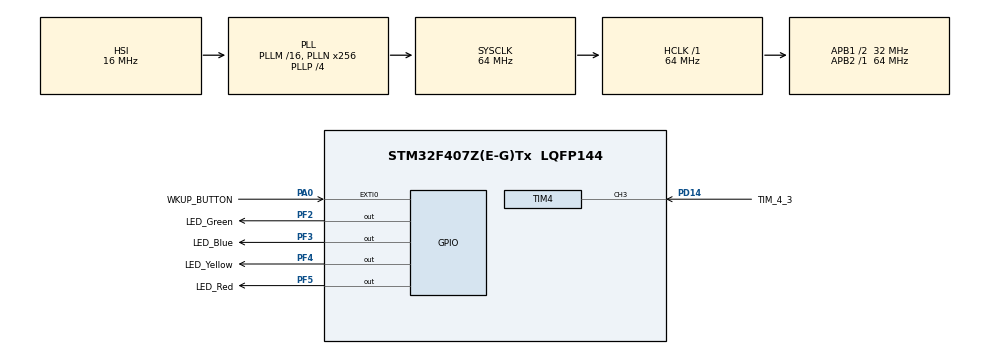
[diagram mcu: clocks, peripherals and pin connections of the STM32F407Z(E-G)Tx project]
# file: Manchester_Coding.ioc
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Mcu.Family=STM32F4
Mcu.Name=STM32F407Z(E-G)Tx
Mcu.Package=LQFP144
NVIC.EXTI0_IRQn=true\:0\:0\:false\:false\:true\:true
NVIC.PriorityGroup=NVIC_PRIORITYGROUP_4
NVIC.TIM4_IRQn=true\:0\:0\:false\:false\:true\:true
PA0-WKUP.GPIO_Label=WKUP_BUTTON
PA0-WKUP.GPIO_PuPd=GPIO_PULLDOWN
PA0-WKUP.Signal=GPXTI0
PD14.GPIO_Label=TIM_4_3
PD14.GPIO_PuPd=GPIO_PULLDOWN
PD14.Signal=S_TIM4_CH3
PF2.GPIO_Label=LED_Green
PF2.GPIO_PuPd=GPIO_PULLDOWN
PF2.Signal=GPIO_Output
PF3.GPIO_Label=LED_Blue
PF3.GPIO_PuPd=GPIO_PULLDOWN
PF3.Signal=GPIO_Output
PF4.GPIO_Label=LED_Yellow
PF4.GPIO_PuPd=GPIO_PULLDOWN
PF4.Signal=GPIO_Output
PF5.GPIO_Label=LED_Red
PF5.GPIO_PuPd=GPIO_PULLDOWN
PF5.Signal=GPIO_Output
ProjectManager.HeapSize=0x200
ProjectManager.StackSize=0x400
ProjectManager.TargetToolchain=Makefile
RCC.48MHZClocksFreq_Value=64000000
RCC.AHBFreq_Value=64000000
RCC.APB1CLKDivider=RCC_HCLK_DIV2
RCC.APB1Freq_Value=32000000
RCC.APB1TimFreq_Value=64000000
RCC.APB2Freq_Value=64000000
RCC.APB2TimFreq_Value=64000000
RCC.CortexFreq_Value=64000000
RCC.HCLKFreq_Value=64000000
RCC.HSE_VALUE=25000000
RCC.HSI_VALUE=16000000
RCC.LSE_VALUE=32768
RCC.PLLN=256
RCC.PLLP=RCC_PLLP_DIV4
RCC.SYSCLKFreq_VALUE=64000000
RCC.SYSCLKSource=RCC_SYSCLKSOURCE_PLLCLK
RCC.VCOOutputFreq_Value=256000000
SH.S_TIM4_CH3.0=TIM4_CH3,Input_Capture3_from_TI3
TIM4.Channel-Input_Capture3_from_TI3=TIM_CHANNEL_3
TIM4.ICPolarity_CH3=TIM_INPUTCHANNELPOLARITY_BOTHEDGE
TIM4.Period=0xFFFF
board=Manchester_Coding

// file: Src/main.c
/**
  ******************************************************************************
  * File Name          : main.c
  * Description        : Main program body
  ******************************************************************************
  ** This notice applies to any and all portions of this file
  * that are not between comment pairs USER CODE BEGIN and
  * USER CODE END. Other portions of this file, whether
  * inserted by the user or by software development tools
  * are owned by their respective copyright owners.
  *
  * COPYRIGHT(c) 2017 STMicroelectronics
  *
  * Redistribution and use in source and binary forms, with or without modification,
  * are permitted provided that the following conditions are met:
  *   1. Redistributions of source code must retain the above copyright notice,
  *      this list of conditions and the following disclaimer.
  *   2. Redistributions in binary form must reproduce the above copyright notice,
  *      this list of conditions and the following disclaimer in the documentation
  *      and/or other materials provided with the distribution.
  *   3. Neither the name of STMicroelectronics nor the names of its contributors
  *      may be used to endorse or promote products derived from this software
  *      without specific prior written permission.
  *
  * THIS SOFTWARE IS PROVIDED BY THE COPYRIGHT HOLDERS AND CONTRIBUTORS "AS IS"
  * AND ANY EXPRESS OR IMPLIED WARRANTIES, INCLUDING, BUT NOT LIMITED TO, THE
  * IMPLIED WARRANTIES OF MERCHANTABILITY AND FITNESS FOR A PARTICULAR PURPOSE ARE
  * DISCLAIMED. IN NO EVENT SHALL THE COPYRIGHT HOLDER OR CONTRIBUTORS BE LIABLE
  * FOR ANY DIRECT, INDIRECT, INCIDENTAL, SPECIAL, EXEMPLARY, OR CONSEQUENTIAL
  * DAMAGES (INCLUDING, BUT NOT LIMITED TO, PROCUREMENT OF SUBSTITUTE GOODS OR
  * SERVICES; LOSS OF USE, DATA, OR PROFITS; OR BUSINESS INTERRUPTION) HOWEVER
  * CAUSED AND ON ANY THEORY OF LIABILITY, WHETHER IN CONTRACT, STRICT LIABILITY,
  * OR TORT (INCLUDING NEGLIGENCE OR OTHERWISE) ARISING IN ANY WAY OUT OF THE USE
  * OF THIS SOFTWARE, EVEN IF ADVISED OF THE POSSIBILITY OF SUCH DAMAGE.
  *
  ******************************************************************************
  */

#include "main.h"
#include "stm32f4xx_hal.h"

/* USER CODE BEGIN Includes */
#include "dwt_stm32_delay.h"
/* USER CODE END Includes */

TIM_HandleTypeDef htim4;

/* USER CODE BEGIN PV */
/* Private variables ---------------------------------------------------------*/

/* Captured Values */
uint32_t               uwIC3Value1 = 0;
uint32_t               uwIC3Value2 = 0;
uint32_t               uwDiffCapture = 0;

/* Capture index */
uint16_t               uhCaptureIndex = 0;

/* /\* Frequency Value *\/ */
/* uint32_t               uwFrequency = 0; */

/* T value as 125 usec */
static unsigned long T = 125*0.000001;
/* Delta_T value as 25 usec */
static unsigned long Delta_T = 25*0.000001;
/* Receiving buffer initialization */
static unsigned char rx_msg[valid_bits] = {0};
/* The value sent by the slave (Disc_STM32F3) */
static unsigned char response = 0x96;

/* USER CODE END PV */

void SystemClock_Config(void);
static void MX_GPIO_Init(void);
static void MX_TIM4_Init(void);

/* USER CODE BEGIN PFP */
/* Private function prototypes -----------------------------------------------*/
/* Manchester_Rx functions */
static unsigned char  Manch_Rx(unsigned char* rx_msg);
static void Manch_Rx_Error(void);
/* USER CODE END PFP */

int main(void)
{

  /* MCU Configuration----------------------------------------------------------*/

  /* Reset of all peripherals, Initializes the Flash interface and the Systick. */
  HAL_Init();

  /* Configure the system clock */
  SystemClock_Config();

  /* Initialize all configured peripherals */
  MX_GPIO_Init();
  MX_TIM4_Init();

  /* USER CODE BEGIN 2 */
  /* Start the Timer4 Input Capture in Interrupt mode */
  if(HAL_TIM_IC_Start_IT(&htim4, TIM_CHANNEL_3) != HAL_OK)
    {
      _Error_Handler(__FILE__,__LINE__);
    }
  /* Call the Manchester_Rx function here and compare the "response"
     and "rx_msg" values */
  Manch_Rx(rx_msg);
  if(*rx_msg == response)
    {
      /* Turn On LED_Green */
      HAL_GPIO_WritePin(LED_Green_GPIO_Port, LED_Green_Pin, GPIO_PIN_SET);
    }
  else
    {
      /* Turn on LED_Red */
      HAL_GPIO_WritePin(LED_Red_GPIO_Port, LED_Red_Pin, GPIO_PIN_SET);
    }
  /* USER CODE END 2 */

  /* Infinite loop */
  while (1)
    {

    }

}

/** System Clock Configuration
*/
void SystemClock_Config(void)
{

  RCC_OscInitTypeDef RCC_OscInitStruct;
  RCC_ClkInitTypeDef RCC_ClkInitStruct;

    /**Configure the main internal regulator output voltage
    */
  __HAL_RCC_PWR_CLK_ENABLE();

  __HAL_PWR_VOLTAGESCALING_CONFIG(PWR_REGULATOR_VOLTAGE_SCALE1);

    /**Initializes the CPU, AHB and APB busses clocks
    */
  RCC_OscInitStruct.OscillatorType = RCC_OSCILLATORTYPE_HSI;
  RCC_OscInitStruct.HSIState = RCC_HSI_ON;
  RCC_OscInitStruct.HSICalibrationValue = 16;
  RCC_OscInitStruct.PLL.PLLState = RCC_PLL_ON;
  RCC_OscInitStruct.PLL.PLLSource = RCC_PLLSOURCE_HSI;
  RCC_OscInitStruct.PLL.PLLM = 16;
  RCC_OscInitStruct.PLL.PLLN = 256;
  RCC_OscInitStruct.PLL.PLLP = RCC_PLLP_DIV4;
  RCC_OscInitStruct.PLL.PLLQ = 4;
  if (HAL_RCC_OscConfig(&RCC_OscInitStruct) != HAL_OK)
  {
    _Error_Handler(__FILE__, __LINE__);
  }

    /**Initializes the CPU, AHB and APB busses clocks
    */
  RCC_ClkInitStruct.ClockType = RCC_CLOCKTYPE_HCLK|RCC_CLOCKTYPE_SYSCLK
                              |RCC_CLOCKTYPE_PCLK1|RCC_CLOCKTYPE_PCLK2;
  RCC_ClkInitStruct.SYSCLKSource = RCC_SYSCLKSOURCE_PLLCLK;
  RCC_ClkInitStruct.AHBCLKDivider = RCC_SYSCLK_DIV1;
  RCC_ClkInitStruct.APB1CLKDivider = RCC_HCLK_DIV2;
  RCC_ClkInitStruct.APB2CLKDivider = RCC_HCLK_DIV1;

  if (HAL_RCC_ClockConfig(&RCC_ClkInitStruct, FLASH_LATENCY_2) != HAL_OK)
  {
    _Error_Handler(__FILE__, __LINE__);
  }

    /**Configure the Systick interrupt time
    */
  HAL_SYSTICK_Config(HAL_RCC_GetHCLKFreq()/1000);

    /**Configure the Systick
    */
  HAL_SYSTICK_CLKSourceConfig(SYSTICK_CLKSOURCE_HCLK);

  /* SysTick_IRQn interrupt configuration */
  HAL_NVIC_SetPriority(SysTick_IRQn, 0, 0);
}

/* TIM4 init function */
static void MX_TIM4_Init(void)
{

  TIM_MasterConfigTypeDef sMasterConfig;
  TIM_IC_InitTypeDef sConfigIC;

  htim4.Instance = TIM4;
  htim4.Init.Prescaler = 0;
  htim4.Init.CounterMode = TIM_COUNTERMODE_UP;
  htim4.Init.Period = 0xFFFF;
  htim4.Init.ClockDivision = TIM_CLOCKDIVISION_DIV1;
  if (HAL_TIM_IC_Init(&htim4) != HAL_OK)
  {
    _Error_Handler(__FILE__, __LINE__);
  }

  sMasterConfig.MasterOutputTrigger = TIM_TRGO_RESET;
  sMasterConfig.MasterSlaveMode = TIM_MASTERSLAVEMODE_DISABLE;
  if (HAL_TIMEx_MasterConfigSynchronization(&htim4, &sMasterConfig) != HAL_OK)
  {
    _Error_Handler(__FILE__, __LINE__);
  }

  sConfigIC.ICPolarity = TIM_INPUTCHANNELPOLARITY_BOTHEDGE;
  sConfigIC.ICSelection = TIM_ICSELECTION_DIRECTTI;
  sConfigIC.ICPrescaler = TIM_ICPSC_DIV1;
  sConfigIC.ICFilter = 0;
  if (HAL_TIM_IC_ConfigChannel(&htim4, &sConfigIC, TIM_CHANNEL_3) != HAL_OK)
  {
    _Error_Handler(__FILE__, __LINE__);
  }

}

/** Configure pins as
        * Analog
        * Input
        * Output
        * EVENT_OUT
        * EXTI
*/
static void MX_GPIO_Init(void)
{

  GPIO_InitTypeDef GPIO_InitStruct;

  /* GPIO Ports Clock Enable */
  __HAL_RCC_GPIOF_CLK_ENABLE();
  __HAL_RCC_GPIOA_CLK_ENABLE();
  __HAL_RCC_GPIOD_CLK_ENABLE();

  /*Configure GPIO pin Output Level */
  HAL_GPIO_WritePin(GPIOF, LED_Green_Pin|LED_Blue_Pin|LED_Yellow_Pin|LED_Red_Pin, GPIO_PIN_RESET);

  /*Configure GPIO pins : LED_Green_Pin LED_Blue_Pin LED_Yellow_Pin LED_Red_Pin */
  GPIO_InitStruct.Pin = LED_Green_Pin|LED_Blue_Pin|LED_Yellow_Pin|LED_Red_Pin;
  GPIO_InitStruct.Mode = GPIO_MODE_OUTPUT_PP;
  GPIO_InitStruct.Pull = GPIO_PULLDOWN;
  GPIO_InitStruct.Speed = GPIO_SPEED_FREQ_LOW;
  HAL_GPIO_Init(GPIOF, &GPIO_InitStruct);

  /*Configure GPIO pin : WKUP_BUTTON_Pin */
  GPIO_InitStruct.Pin = WKUP_BUTTON_Pin;
  GPIO_InitStruct.Mode = GPIO_MODE_IT_RISING;
  GPIO_InitStruct.Pull = GPIO_PULLDOWN;
  HAL_GPIO_Init(WKUP_BUTTON_GPIO_Port, &GPIO_InitStruct);

  /* EXTI interrupt init*/
  HAL_NVIC_SetPriority(EXTI0_IRQn, 0, 0);
  HAL_NVIC_EnableIRQ(EXTI0_IRQn);

}

/* USER CODE BEGIN 4 */
/* Manchester Rx Function */

unsigned char Manch_Rx(unsigned char* rx_msg)
{
  unsigned char Current_bit = 0;
  unsigned char Next_bit = 0;
  unsigned char bit_mask = 0x80;
  unsigned char rx_bits = 0;
  while (bit_mask)
    {

      /* Wait till both the data is in synchronization */
      while (!((uwDiffCapture < (2*T-Delta_T)) && (uwDiffCapture > (2*T+Delta_T))))
	{
	  HAL_TIM_IC_CaptureCallback(&htim4);
	}
      /* Store this value as Current_bit when the data is in sync */
      if((HAL_GPIO_ReadPin(TIM_4_3_GPIO_Port, TIM_4_3_Pin)) == GPIO_PIN_SET)
	{
	  Current_bit = 1;
	}
      else if((HAL_GPIO_ReadPin(TIM_4_3_GPIO_Port,TIM_4_3_Pin)) == GPIO_PIN_RESET)
	{
	  Current_bit = 0;
	}
      HAL_TIM_IC_CaptureCallback(&htim4);
      if((uwDiffCapture > (T-Delta_T)) && (uwDiffCapture < (T-Delta_T)))
	{
	  HAL_TIM_IC_CaptureCallback(&htim4);
	  if((uwDiffCapture > (T-Delta_T)) && (uwDiffCapture < (T-Delta_T)))
	    {
	      Next_bit = Current_bit;
	    }
	  else
	    {
	      Manch_Rx_Error();
	    }
	}
      else if((uwDiffCapture > (2*T-Delta_T)) && (uwDiffCapture < (2*T-Delta_T)))
	{
	  Next_bit = ~ Current_bit;
	}
      else
	{
	  Manch_Rx_Error();
	}
      rx_msg[rx_bits] = Next_bit;
      rx_bits++;
      bit_mask = bit_mask >> 1;
    }

  return *rx_msg;
}

void Manch_Rx_Error(void)
{
  /* Blink Blue LED */
  HAL_GPIO_WritePin(LED_Blue_GPIO_Port, LED_Blue_Pin, GPIO_PIN_SET);
}

/**
 * @brief  Conversion complete callback in non blocking mode
 * @param  htim: TIM handle
 * @retval None
 */
void HAL_TIM_IC_CaptureCallback(TIM_HandleTypeDef *htim)
{
  if (htim->Channel == HAL_TIM_ACTIVE_CHANNEL_3)
    {
      if(uhCaptureIndex == 0)
	{
	  /* Get the 1st Input Capture value */
	  uwIC3Value1 = HAL_TIM_ReadCapturedValue(htim, TIM_CHANNEL_3);
	  uhCaptureIndex = 1;
	}
      else if(uhCaptureIndex == 1)
	{
	  /* Get the 2nd Input Capture value */
	  uwIC3Value2 = HAL_TIM_ReadCapturedValue(htim, TIM_CHANNEL_3);

	  /* Capture computation */
	  if (uwIC3Value2 > uwIC3Value1)
	    {
	      uwDiffCapture = (uwIC3Value2 - uwIC3Value1);
	    }
	  else  /* (uwIC2Value2 <= uwIC2Value1) */
	    {
	      uwDiffCapture = ((0xFFFF - uwIC3Value1) + uwIC3Value2);
	    }

	  /* /\* Frequency computation: for this example TIMx (TIM1) is clocked by */
	  /*    2xAPB2Clk *\/       */
	  /* uwFrequency = (2*HAL_RCC_GetPCLK1Freq()) / uwDiffCapture; */
	  uhCaptureIndex = 0;

	}
    }
}

/* USER CODE END 4 */

void _Error_Handler(char * file, int line)
{
  /* USER CODE BEGIN Error_Handler_Debug */

  /* Turn on LED Yellow */
  HAL_GPIO_WritePin(LED_Yellow_GPIO_Port, LED_Yellow_Pin, GPIO_PIN_SET);
  /* User can add his own implementation to report the HAL error return state */
  while(1)
    {
    }
  /* USER CODE END Error_Handler_Debug */
}

#ifdef USE_FULL_ASSERT

/**
   * @brief Reports the name of the source file and the source line number
   * where the assert_param error has occurred.
   * @param file: pointer to the source file name
   * @param line: assert_param error line source number
   * @retval None
   */
void assert_failed(uint8_t* file, uint32_t line)
{
  /* USER CODE BEGIN 6 */
  HAL_GPIO_WritePin(LED_Yellow_GPIO_Port, LED_Yellow_Pin, GPIO_PIN_SET);
  HAL_GPIO_WritePin(LED_Red_GPIO_Port, LED_Red_Pin, GPIO_PIN_SET);
  /* User can add his own implementation to report the file name and line number,
     ex: printf("Wrong parameters value: file %s on line %d\r\n", file, line) */
  /* USER CODE END 6 */

}

#endif

/************************ (C) COPYRIGHT STMicroelectronics *****END OF FILE****/
